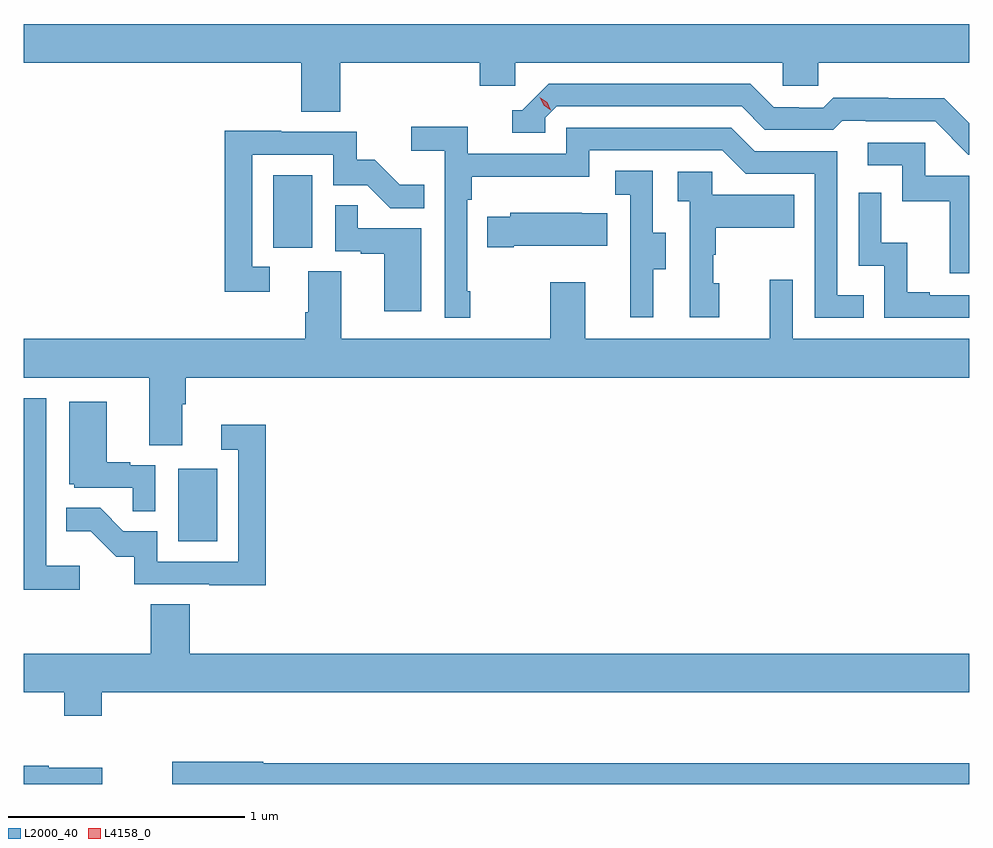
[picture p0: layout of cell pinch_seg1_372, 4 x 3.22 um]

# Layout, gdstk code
import gdstk
lib = gdstk.Library(unit=1e-6, precision=1e-09)
def R(c, l, rs):  # rectangles x0, y0, x1, y1
    for r in rs: c.add(gdstk.rectangle(r[:2], r[2:], *l))
def P(c, l, *ps):  # polygons
    for p in ps: c.add(gdstk.Polygon(p, *l))
L2000_40 = (2000, 40)
L4158_0 = (4158, 0)

pinch_seg1_372 = lib.new_cell('pinch_seg1_372')
R(pinch_seg1_372, L2000_40, [(970.334,523.068,970.498,523.375), (970.736,524.31,970.9,524.617)])
P(pinch_seg1_372, L2000_40, [(971.018,525.092),(971.609,525.092),(971.609,524.994),(971.76,524.994),(971.76,525.092),(972.891,525.092),(972.891,524.994),(973.041,524.994),(973.041,525.092),(973.68,525.092),(973.68,525.256),(969.68,525.256),(969.68,525.092),(970.853,525.092),(970.853,524.884),(971.018,524.884)],
  [(973.68,524.835),(973.574,524.941),(973.338,524.941),(973.338,524.944),(973.105,524.944),(973.063,524.901),(972.96,524.901),(972.96,524.904),(972.853,524.904),(972.754,525.003),(971.901,525.003),(971.79,524.892),(971.747,524.892),(971.747,524.796),(971.886,524.796),(971.886,524.859),(971.934,524.907),(972.717,524.907),(972.816,524.808),(973.105,524.808),(973.144,524.847),(973.243,524.847),(973.243,524.844),(973.536,524.844),(973.677,524.703),(973.68,524.703)],
  [(971.569,524.125),(971.556,524.125),(971.556,524.513),(971.576,524.513),(971.576,524.609),(972.072,524.609),(972.072,524.721),(972.636,524.721),(972.735,524.622),(973.026,524.622),(973.026,524.013),(973.235,524.013),(973.235,524.109),(973.122,524.109),(973.122,524.718),(972.772,524.718),(972.673,524.817),(971.976,524.817),(971.976,524.706),(971.558,524.706),(971.558,524.822),(971.319,524.822),(971.319,524.72),(971.46,524.72),(971.46,524.013),(971.569,524.013)],
  [(970.72,524.229),(970.647,524.229),(970.647,524.703),(970.989,524.703),(970.989,524.574),(971.133,524.574),(971.231,524.476),(971.375,524.476),(971.375,524.575),(971.271,524.575),(971.164,524.682),(971.088,524.682),(971.088,524.799),(970.769,524.799),(970.769,524.804),(970.531,524.804),(970.531,524.124),(970.72,524.124)],
  [(973.68,524.613),(973.494,524.613),(973.494,524.754),(973.251,524.754),(973.251,524.658),(973.398,524.658),(973.398,524.505),(973.597,524.505),(973.597,524.202),(973.68,524.202)],
  [(972.343,524.218),(972.397,524.218),(972.397,524.373),(972.342,524.373),(972.342,524.636),(972.183,524.636),(972.183,524.533),(972.246,524.533),(972.246,524.229),(972.245,524.229),(972.245,524.016),(972.343,524.016)],
  [(972.622,524.16),(972.597,524.16),(972.597,524.279),(972.607,524.279),(972.607,524.393),(972.941,524.393),(972.941,524.533),(972.594,524.533),(972.594,524.631),(972.447,524.631),(972.447,524.507),(972.498,524.507),(972.498,524.016),(972.622,524.016)],
  [(973.68,524.109),(973.513,524.109),(973.513,524.121),(973.418,524.121),(973.418,524.33),(973.308,524.33),(973.308,524.542),(973.212,524.542),(973.212,524.232),(973.32,524.232),(973.32,524.013),(973.68,524.013)],
  [(971.362,524.391),(971.093,524.391),(971.093,524.489),(970.998,524.489),(970.998,524.295),(971.105,524.295),(971.105,524.283),(971.204,524.283),(971.204,524.04),(971.362,524.04)],
  [(971.752,524.318),(972.149,524.318),(972.149,524.455),(972.041,524.455),(972.041,524.458),(971.739,524.458),(971.739,524.44),(971.641,524.44),(971.641,524.311),(971.752,524.311)],
  [(970.351,523.648),(970.364,523.648),(970.364,523.76),(973.68,523.76),(973.68,523.924),(972.933,523.924),(972.933,524.173),(972.836,524.173),(972.836,523.924),(972.055,523.924),(972.055,524.164),(971.908,524.164),(971.908,523.924),(971.023,523.924),(971.023,524.21),(970.883,524.21),(970.883,524.036),(970.871,524.036),(970.871,523.924),(969.68,523.924),(969.68,523.76),(970.211,523.76),(970.211,523.474),(970.351,523.474)],
  [(969.916,522.964),(969.774,522.964),(969.774,523.672),(969.68,523.672),(969.68,522.862),(969.916,522.862)],
  [(970.236,523.389),(970.13,523.389),(970.13,523.402),(970.03,523.402),(970.03,523.657),(969.872,523.657),(969.872,523.308),(969.894,523.308),(969.894,523.293),(970.141,523.293),(970.141,523.195),(970.236,523.195)],
  [(970.703,523.561),(970.515,523.561),(970.515,523.455),(970.587,523.455),(970.587,522.981),(970.245,522.981),(970.245,523.11),(970.101,523.11),(970.003,523.208),(969.859,523.208),(969.859,523.109),(969.963,523.109),(970.07,523.002),(970.147,523.002),(970.147,522.885),(970.465,522.885),(970.465,522.88),(970.703,522.88)],
  [(970.01,522.428),(973.68,522.428),(973.68,522.592),(970.382,522.592),(970.382,522.8),(970.217,522.8),(970.217,522.592),(969.68,522.592),(969.68,522.428),(969.85,522.428),(969.85,522.329),(970.01,522.329)],
  [(973.68,522.127),(970.692,522.127),(970.692,522.135),(970.308,522.135),(970.308,522.04),(973.68,522.04)],
  [(970.012,522.108),(969.785,522.108),(969.785,522.118),(969.68,522.118),(969.68,522.04),(970.012,522.04)])
P(pinch_seg1_372, L4158_0, [(971.909,524.892),(971.879,524.912),(971.863,524.945),(971.863,524.946),(971.864,524.946),(971.894,524.925),(971.909,524.892),(971.909,524.892)])

lib.write_gds('pinch_seg1_372.gds')
